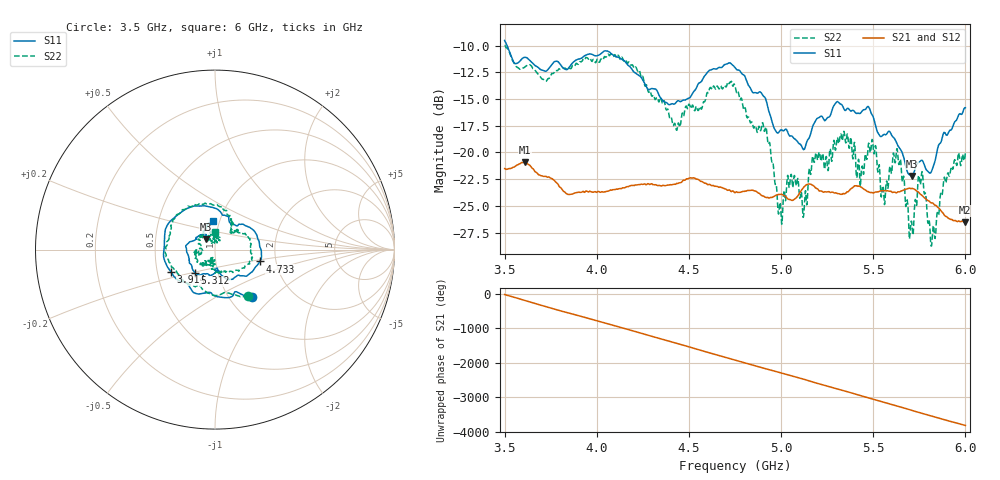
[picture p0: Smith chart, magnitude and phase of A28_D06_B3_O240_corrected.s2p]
! Created with skrf 1.9.0 (http://scikit-rf.org).
# Hz S RI R 50.0
!freq ReS11 ImS11 ReS21 ImS21 ReS12 ImS12 ReS22 ImS22
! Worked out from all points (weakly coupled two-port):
!   1601 points, 3.5 GHz to 6 GHz, reference 50 ohm
!   highest |S21| = -20.91 dB at 3.609 GHz (marker M1); lowest = -26.5 dB at 5.997 GHz (marker M2)
!   lowest |S11| = -22.2 dB at 5.709 GHz (marker M3), VSWR 1.17, Z = 44.8 + j5.19 ohm
!   |S11| at or under -10 dB: 3.514 GHz to end of sweep
!   |S22| runs from -28.8 to -10.0 dB; largest |S21 - S12| = 0.00094
!   S11 on the Smith chart (normalised r, x): 3.5 GHz: 1.27, -0.75; 3.914 GHz: 0.59, -0.16; 4.733 GHz: 1.64, -0.23; 5.312 GHz: 0.78, -0.21; 6 GHz: 0.93, +0.31
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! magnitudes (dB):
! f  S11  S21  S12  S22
! 3.5 GHz  -9.5  -21.5  -21.5  -10.0
! 3.609 GHz  -11.1  -20.9  -20.9  -12.0
! 3.914 GHz  -11.2  -23.7  -23.7  -11.5
! 3.917 GHz  -11.2  -23.7  -23.7  -11.5
! 4.334 GHz  -14.5  -23.1  -23.0  -15.2
! 4.441 GHz  -15.2  -22.9  -22.8  -17.3
! 4.733 GHz  -11.8  -23.6  -23.6  -13.4
! 4.75 GHz  -12.1  -23.8  -23.7  -13.8
! 4.911 GHz  -14.8  -24.2  -24.1  -18.0
! 4.995 GHz  -17.9  -23.9  -23.8  -24.7
! 5.045 GHz  -18.4  -24.4  -24.4  -23.2
! 5.13 GHz  -19.6  -23.1  -23.1  -23.8
! 5.167 GHz  -17.8  -23.0  -23.0  -20.9
! 5.312 GHz  -15.3  -23.9  -23.8  -19.2
! 5.584 GHz  -18.0  -23.6  -23.6  -22.5
! 5.638 GHz  -19.5  -23.7  -23.6  -21.0
! 5.709 GHz  -22.2  -23.4  -23.3  -26.6
! 5.755 GHz  -20.8  -23.9  -23.8  -22.9
! 5.823 GHz  -21.4  -24.7  -24.7  -27.4
! 5.894 GHz  -18.3  -26.0  -25.9  -22.8
! 5.997 GHz  -15.8  -26.5  -26.4  -20.5
! 6 GHz  -15.8  -26.5  -26.4  -20.0
